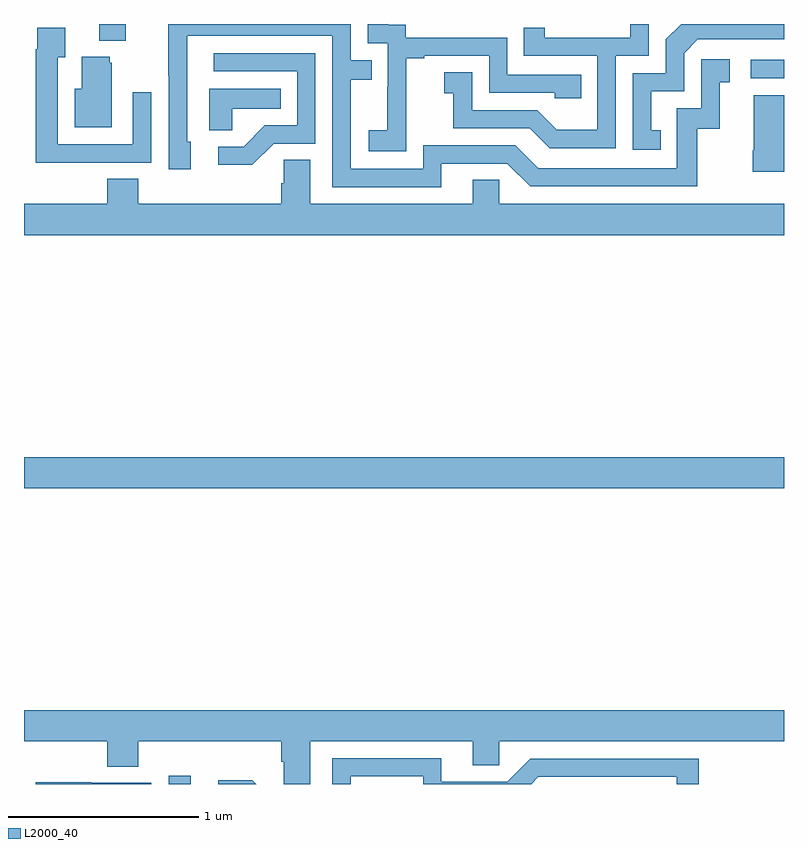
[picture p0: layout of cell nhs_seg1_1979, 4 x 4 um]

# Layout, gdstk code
import gdstk
lib = gdstk.Library(unit=1e-6, precision=1e-09)
def R(c, l, rs):  # rectangles x0, y0, x1, y1
    for r in rs: c.add(gdstk.rectangle(r[:2], r[2:], *l))
def P(c, l, *ps):  # polygons
    for p in ps: c.add(gdstk.Polygon(p, *l))
L2000_40 = (2000, 40)

nhs_seg1_1979 = lib.new_cell('nhs_seg1_1979')
R(nhs_seg1_1979, L2000_40, [(219.762,526.199,219.877,526.243), (219,527.756,223,527.92), (222.825,529.914,223,530.01), (219.395,530.111,219.535,530.199)])
P(nhs_seg1_1979, L2000_40, [(222.114,530.031),(222.288,530.031),(222.288,530.199),(222.191,530.199),(222.191,530.127),(221.74,530.127),(221.74,530.179),(221.629,530.179),(221.629,530.031),(222.018,530.031),(222.018,529.642),(221.804,529.642),(221.7,529.746),(221.358,529.746),(221.358,529.945),(221.211,529.945),(221.211,529.835),(221.26,529.835),(221.26,529.65),(221.663,529.65),(221.768,529.545),(222.114,529.545)],
  [(222.35,529.641),(222.301,529.641),(222.301,529.845),(222.474,529.845),(222.474,530.046),(222.546,530.118),(223,530.118),(223,530.199),(222.459,530.199),(222.378,530.118),(222.378,529.941),(222.204,529.941),(222.204,529.536),(222.35,529.536)],
  [(221.013,529.735),(221.012,529.735),(221.012,530.019),(221.107,530.019),(221.107,530.031),(221.448,530.031),(221.448,529.836),(221.793,529.836),(221.793,529.809),(221.933,529.809),(221.933,529.932),(221.544,529.932),(221.544,530.127),(221.01,530.127),(221.01,530.196),(220.918,530.196),(220.918,530.199),(220.809,530.199),(220.809,530.097),(220.914,530.097),(220.914,529.868),(220.913,529.868),(220.913,529.639),(220.815,529.639),(220.815,529.529),(221.013,529.529)],
  [(221.197,529.464),(221.544,529.464),(221.664,529.344),(222.544,529.344),(222.544,529.647),(222.662,529.647),(222.662,529.893),(222.715,529.893),(222.715,530.014),(222.564,530.014),(222.564,529.755),(222.435,529.755),(222.435,529.44),(221.706,529.44),(221.586,529.56),(221.1,529.56),(221.1,529.437),(220.719,529.437),(220.719,529.906),(220.829,529.906),(220.829,530.007),(220.719,530.007),(220.719,530.199),(219.76,530.199),(219.76,529.927),(219.762,529.927),(219.762,529.434),(219.877,529.434),(219.877,529.578),(219.858,529.578),(219.858,530.136),(220.623,530.136),(220.623,529.341),(221.197,529.341)],
  [(219.353,529.47),(219.669,529.47),(219.669,529.84),(219.573,529.84),(219.573,529.566),(219.177,529.566),(219.177,530.023),(219.217,530.023),(219.217,530.179),(219.069,530.179),(219.069,530.066),(219.061,530.066),(219.061,529.469),(219.353,529.469)],
  [(220.314,529.569),(220.533,529.569),(220.533,530.046),(219.999,530.046),(219.999,529.95),(220.437,529.95),(220.437,529.665),(220.268,529.665),(220.157,529.554),(220.023,529.554),(220.023,529.457),(220.201,529.457)],
  [(219.463,529.995),(219.452,529.995),(219.452,530.026),(219.305,530.026),(219.305,529.858),(219.266,529.858),(219.266,529.655),(219.463,529.655)],
  [(220.095,529.754),(220.352,529.754),(220.352,529.858),(219.974,529.858),(219.974,529.639),(220.095,529.639)],
  [(223,529.825),(222.842,529.825),(222.842,529.534),(222.835,529.534),(222.835,529.422),(223,529.422)],
  [(223,529.252),(221.502,529.252),(221.502,529.379),(221.363,529.379),(221.363,529.252),(220.507,529.252),(220.507,529.484),(220.368,529.484),(220.368,529.361),(220.355,529.361),(220.355,529.252),(219.602,529.252),(219.602,529.385),(219.437,529.385),(219.437,529.252),(219,529.252),(219,529.088),(223,529.088)],
  [(220.507,526.424),(221.363,526.424),(221.363,526.297),(221.502,526.297),(221.502,526.424),(223,526.424),(223,526.588),(219,526.588),(219,526.424),(219.437,526.424),(219.437,526.291),(219.602,526.291),(219.602,526.424),(220.355,526.424),(220.355,526.315),(220.368,526.315),(220.368,526.199),(220.507,526.199)],
  [(220.719,526.239),(221.1,526.239),(221.1,526.199),(221.669,526.199),(221.706,526.236),(222.435,526.236),(222.435,526.199),(222.551,526.199),(222.551,526.332),(221.664,526.332),(221.544,526.212),(221.197,526.212),(221.197,526.335),(220.623,526.335),(220.623,526.199),(220.719,526.199)],
  [(220.201,526.22),(220.023,526.22),(220.023,526.199),(220.222,526.199)],
  [(219.669,526.206),(219.353,526.206),(219.353,526.208),(219.061,526.208),(219.061,526.199),(219.669,526.199)])

lib.write_gds('nhs_seg1_1979.gds')
